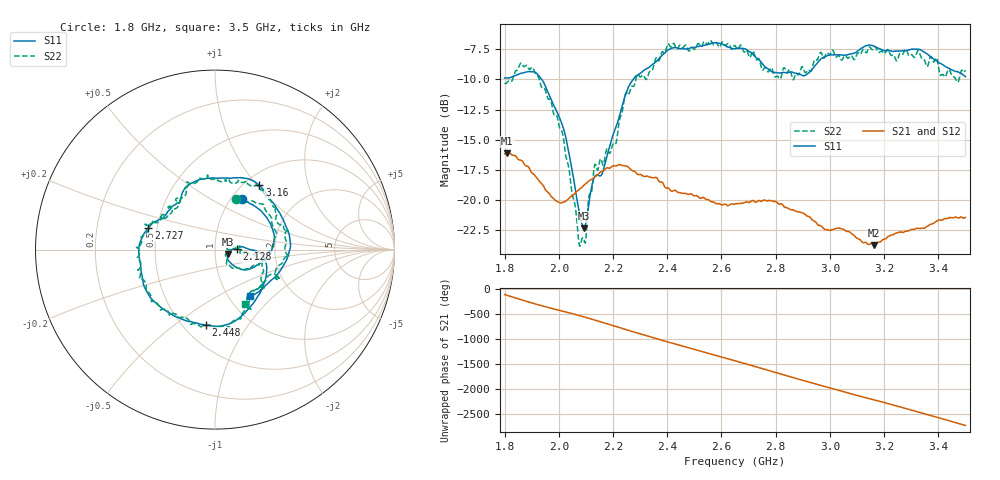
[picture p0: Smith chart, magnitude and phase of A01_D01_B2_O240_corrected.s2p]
! Created with skrf 1.9.0 (http://scikit-rf.org).
# Hz S RI R 50.0
!freq ReS11 ImS11 ReS21 ImS21 ReS12 ImS12 ReS22 ImS22
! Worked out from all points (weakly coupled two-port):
!   1601 points, 1.8 GHz to 3.5 GHz, reference 50 ohm
!   highest |S21| = -16.13 dB at 1.81 GHz (marker M1); lowest = -23.7 dB at 3.163 GHz (marker M2)
!   lowest |S11| = -22.3 dB at 2.093 GHz (marker M3), VSWR 1.17, Z = 57.8 - j2.78 ohm
!   |S11| at or under -10 dB: 1.937 GHz to 2.274 GHz (337.2 MHz wide, 16 % of centre)
!   |S22| runs from -23.8 to -6.8 dB; largest |S21 - S12| = 0.0032
!   S11 on the Smith chart (normalised r, x): 1.8 GHz: 1.13, +0.71; 2.128 GHz: 1.28, +0.01; 2.448 GHz: 0.64, -0.66; 2.727 GHz: 0.45, +0.13; 3.16 GHz: 1.17, +1.03; 3.5 GHz: 1.25, -0.72
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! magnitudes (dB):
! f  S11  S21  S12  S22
! 1.8 GHz  -9.9  -16.2  -16.2  -10.3
! 1.81 GHz  -9.9  -16.1  -16.1  -10.2
! 1.901 GHz  -9.4  -17.7  -17.7  -9.0
! 1.968 GHz  -11.5  -19.6  -19.6  -11.7
! 2.022 GHz  -14.5  -20.1  -20.1  -15.8
! 2.084 GHz  -21.9  -19.0  -18.9  -23.3
! 2.093 GHz  -22.3  -18.8  -18.8  -23.3
! 2.128 GHz  -18.3  -18.2  -18.2  -17.7
! 2.161 GHz  -17.7  -17.6  -17.5  -17.0
! 2.208 GHz  -14.1  -17.2  -17.2  -15.4
! 2.262 GHz  -10.4  -17.4  -17.4  -11.0
! 2.367 GHz  -8.3  -18.4  -18.3  -8.5
! 2.448 GHz  -7.5  -19.4  -19.4  -7.2
! 2.65 GHz  -7.5  -20.3  -20.3  -7.2
! 2.727 GHz  -8.2  -20.2  -20.2  -8.3
! 2.81 GHz  -9.5  -20.3  -20.2  -9.8
! 2.934 GHz  -9.2  -21.6  -21.6  -9.2
! 3.16 GHz  -7.2  -23.7  -23.6  -7.5
! 3.163 GHz  -7.2  -23.7  -23.7  -7.3
! 3.217 GHz  -7.6  -23.0  -23.0  -7.6
! 3.468 GHz  -9.4  -21.4  -21.4  -10.2
! 3.5 GHz  -9.8  -21.4  -21.4  -9.2
